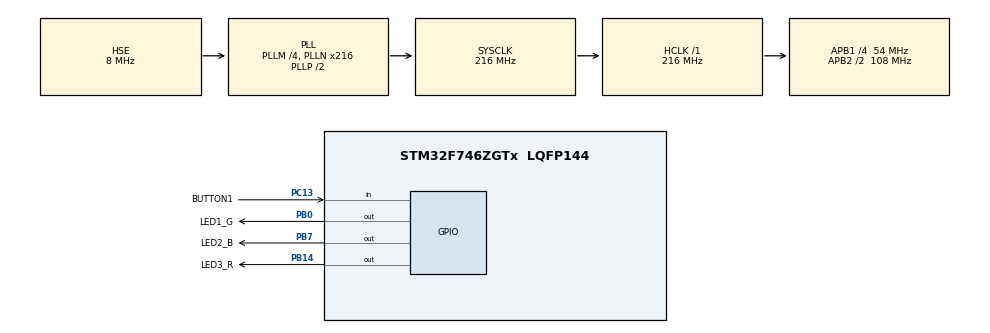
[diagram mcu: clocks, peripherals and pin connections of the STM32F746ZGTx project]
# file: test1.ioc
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Dma.MEMTOMEM.0.Direction=DMA_MEMORY_TO_MEMORY
Dma.MEMTOMEM.0.FIFOMode=DMA_FIFOMODE_ENABLE
Dma.MEMTOMEM.0.FIFOThreshold=DMA_FIFO_THRESHOLD_FULL
Dma.MEMTOMEM.0.Instance=DMA2_Stream0
Dma.MEMTOMEM.0.MemBurst=DMA_MBURST_SINGLE
Dma.MEMTOMEM.0.MemDataAlignment=DMA_MDATAALIGN_WORD
Dma.MEMTOMEM.0.MemInc=DMA_MINC_ENABLE
Dma.MEMTOMEM.0.Mode=DMA_NORMAL
Dma.MEMTOMEM.0.PeriphBurst=DMA_PBURST_SINGLE
Dma.MEMTOMEM.0.PeriphDataAlignment=DMA_PDATAALIGN_WORD
Dma.MEMTOMEM.0.PeriphInc=DMA_PINC_ENABLE
Dma.MEMTOMEM.0.Priority=DMA_PRIORITY_LOW
Dma.Request0=MEMTOMEM
Mcu.Family=STM32F7
Mcu.Name=STM32F746ZGTx
Mcu.Package=LQFP144
NVIC.DMA2_Stream0_IRQn=true\:0\:0\:false\:false\:true\:true
NVIC.PriorityGroup=NVIC_PRIORITYGROUP_4
PA13.Mode=Serial_Wire
PA13.Signal=SYS_JTMS-SWDIO
PA14.Mode=Serial_Wire
PA14.Signal=SYS_JTCK-SWCLK
PB0.GPIO_Label=LED1_G
PB0.Signal=GPIO_Output
PB14.GPIO_Label=LED3_R
PB14.Signal=GPIO_Output
PB7.GPIO_Label=LED2_B
PB7.Signal=GPIO_Output
PC13.GPIO_Label=BUTTON1
PC13.Signal=GPIO_Input
PH0/OSC_IN.Mode=HSE-External-Oscillator
PH0/OSC_IN.Signal=RCC_OSC_IN
PH1/OSC_OUT.Mode=HSE-External-Oscillator
PH1/OSC_OUT.Signal=RCC_OSC_OUT
ProjectManager.HeapSize=0x200
ProjectManager.StackSize=0x400
ProjectManager.TargetToolchain=MDK-ARM V5
RCC.AHBFreq_Value=216000000
RCC.APB1CLKDivider=RCC_HCLK_DIV4
RCC.APB1Freq_Value=54000000
RCC.APB1TimFreq_Value=108000000
RCC.APB2CLKDivider=RCC_HCLK_DIV2
RCC.APB2Freq_Value=108000000
RCC.APB2TimFreq_Value=216000000
RCC.CortexFreq_Value=216000000
RCC.HCLKFreq_Value=216000000
RCC.HSE_VALUE=8000000
RCC.HSI_VALUE=16000000
RCC.LSE_VALUE=32768
RCC.PLLM=4
RCC.PLLN=216
RCC.PLLSourceVirtual=RCC_PLLSOURCE_HSE
RCC.SYSCLKFreq_VALUE=216000000
RCC.SYSCLKSource=RCC_SYSCLKSOURCE_PLLCLK
RCC.USBFreq_Value=216000000
RCC.VCOOutputFreq_Value=432000000
board=test1

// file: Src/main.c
/**
  ******************************************************************************
  * @file           : main.c
  * @brief          : Main program body
  ******************************************************************************
  ** This notice applies to any and all portions of this file
  * that are not between comment pairs USER CODE BEGIN and
  * USER CODE END. Other portions of this file, whether
  * inserted by the user or by software development tools
  * are owned by their respective copyright owners.
  *
  * COPYRIGHT(c) 2018 STMicroelectronics
  *
  * Redistribution and use in source and binary forms, with or without modification,
  * are permitted provided that the following conditions are met:
  *   1. Redistributions of source code must retain the above copyright notice,
  *      this list of conditions and the following disclaimer.
  *   2. Redistributions in binary form must reproduce the above copyright notice,
  *      this list of conditions and the following disclaimer in the documentation
  *      and/or other materials provided with the distribution.
  *   3. Neither the name of STMicroelectronics nor the names of its contributors
  *      may be used to endorse or promote products derived from this software
  *      without specific prior written permission.
  *
  * THIS SOFTWARE IS PROVIDED BY THE COPYRIGHT HOLDERS AND CONTRIBUTORS "AS IS"
  * AND ANY EXPRESS OR IMPLIED WARRANTIES, INCLUDING, BUT NOT LIMITED TO, THE
  * IMPLIED WARRANTIES OF MERCHANTABILITY AND FITNESS FOR A PARTICULAR PURPOSE ARE
  * DISCLAIMED. IN NO EVENT SHALL THE COPYRIGHT HOLDER OR CONTRIBUTORS BE LIABLE
  * FOR ANY DIRECT, INDIRECT, INCIDENTAL, SPECIAL, EXEMPLARY, OR CONSEQUENTIAL
  * DAMAGES (INCLUDING, BUT NOT LIMITED TO, PROCUREMENT OF SUBSTITUTE GOODS OR
  * SERVICES; LOSS OF USE, DATA, OR PROFITS; OR BUSINESS INTERRUPTION) HOWEVER
  * CAUSED AND ON ANY THEORY OF LIABILITY, WHETHER IN CONTRACT, STRICT LIABILITY,
  * OR TORT (INCLUDING NEGLIGENCE OR OTHERWISE) ARISING IN ANY WAY OUT OF THE USE
  * OF THIS SOFTWARE, EVEN IF ADVISED OF THE POSSIBILITY OF SUCH DAMAGE.
  *
  ******************************************************************************
  */
#include "main.h"
#include "stm32f7xx_hal.h"
#include <cstring>

DMA_HandleTypeDef hdma_memtomem_dma2_stream0;

//#define POLLING_DMA

#define BUFFER_SIZE 32

/* Store array data in FLASH memory */
static const uint32_t srcBuffer[BUFFER_SIZE] =
{
	0x01020304, 0x05060708, 0x090A0B0C, 0x0D0E0F10,
	0x11121314, 0x15161718, 0x191A1B1C, 0x1D1E1F20,
	0x21222324, 0x25262728, 0x292A2B2C, 0x2D2E2F30,
	0x31323334, 0x35363738, 0x393A3B3C, 0x3D3E3F40,
	0x41424344, 0x45464748, 0x494A4B4C, 0x4D4E4F50,
	0x51525354, 0x55565758, 0x595A5B5C, 0x5D5E5F60,
	0x61626364, 0x65666768, 0x696A6B6C, 0x6D6E6F70,
	0x71727374, 0x75767778, 0x797A7B7C, 0x7D7E7F80
};
uint32_t dstBuffer[BUFFER_SIZE];

void SystemClock_Config(void);
static void MX_GPIO_Init(void);
static void MX_DMA_Init(void);

uint8_t BufferCmp(uint32_t* pBuff1, uint32_t* pBuff2, uint16_t len);
uint8_t BufferCmp2(uint32_t* pBuff1, uint32_t* pBuff2, uint16_t len);
static void XferCpltCallback(DMA_HandleTypeDef *DmaHandle);
static void XferErrorCallback(DMA_HandleTypeDef *DmaHandle);
static void XferHalfCpltCallback(DMA_HandleTypeDef *DmaHandle);
int main(void)
{
	/* MCU Configuration----------------------------------------------------------*/

	/* Reset of all peripherals, Initializes the Flash interface and the Systick. */
	HAL_Init();

	/* Configure the system clock */
	SystemClock_Config();

	/* Initialize all configured peripherals */
	MX_GPIO_Init();
	MX_DMA_Init();

	/* Turn red LED off */
	HAL_GPIO_WritePin(LED3_R_GPIO_Port, LED3_R_Pin, GPIO_PIN_RESET);
	/* Turn green LED off */
	HAL_GPIO_WritePin(LED1_G_GPIO_Port, LED1_G_Pin, GPIO_PIN_RESET);
	/* Turn blue LED off */
	HAL_GPIO_WritePin(LED2_B_GPIO_Port, LED2_B_Pin, GPIO_PIN_RESET);

	/* DMA transfer */
	/* Wait for user button press before starting the transfer */
	while (HAL_GPIO_ReadPin(BUTTON1_GPIO_Port, BUTTON1_Pin) == GPIO_PIN_RESET);

    /* Turn blue LED on to confirm button has pressed */
	HAL_GPIO_WritePin(LED2_B_GPIO_Port, LED2_B_Pin, GPIO_PIN_SET);
	// LED2_B_GPIO_Port->BSRR = LED2_B_Pin;	// Just playing with CMSIS

#ifndef POLLING_DMA
	/* Setup callbacks, not sure this can be done without HAL_DMA_Init */
//	hdma_memtomem_dma2_stream0.XferCpltCallback = XferCpltCallback;
//	hdma_memtomem_dma2_stream0.XferErrorCallback = XferErrorCallback;
//	hdma_memtomem_dma2_stream0.XferHalfCpltCallback = XferHalfCpltCallback;
	if (HAL_DMA_Start_IT(&hdma_memtomem_dma2_stream0, (uint32_t)&srcBuffer,
			(uint32_t)&dstBuffer, BUFFER_SIZE) != HAL_OK)
	{
		/* Transfer Error: Blink Red LED for ever */
		while(1)
		{
			HAL_GPIO_TogglePin (LED3_R_GPIO_Port, LED3_R_Pin);
			HAL_Delay (100);
		}
	}
#else
	if (HAL_DMA_Start(&hdma_memtomem_dma2_stream0, (uint32_t)&srcBuffer,
			(uint32_t)&dstBuffer, BUFFER_SIZE) != HAL_OK)
	{
		/* Transfer Error: Blink Red LED for ever */
		while(1)
		{
			HAL_GPIO_TogglePin (LED3_R_GPIO_Port, LED3_R_Pin);
			HAL_Delay (100);
		}
	}
#endif

	/* Start the DMA transfer using polling mode */

#ifdef POLLING_DMA
	/* Polling for transfer complete, if not using XferCpltCallback interrupt */
	HAL_DMA_PollForTransfer(&hdma_memtomem_dma2_stream0,
	                        HAL_DMA_FULL_TRANSFER, 1000);
	/* Compare the source and destination buffers */
	// dstBuffer[4] = 0x12345678;	// Create difference
	if(BufferCmp2((uint32_t*)srcBuffer, (uint32_t*)dstBuffer, BUFFER_SIZE))
	{
		/* Turn red LED on */
		HAL_GPIO_WritePin(LED3_R_GPIO_Port, LED3_R_Pin, GPIO_PIN_SET);
	}
	else
	{
		/* Turn green LED on */
		HAL_GPIO_WritePin(LED1_G_GPIO_Port, LED1_G_Pin, GPIO_PIN_SET);
	}
#endif

	/* Infinite loop */
	while (1)
	{
	}
}

void SystemClock_Config(void)
{

  RCC_OscInitTypeDef RCC_OscInitStruct;
  RCC_ClkInitTypeDef RCC_ClkInitStruct;

    /**Configure the main internal regulator output voltage
    */
  __HAL_RCC_PWR_CLK_ENABLE();

  __HAL_PWR_VOLTAGESCALING_CONFIG(PWR_REGULATOR_VOLTAGE_SCALE1);

    /**Initializes the CPU, AHB and APB busses clocks
    */
  RCC_OscInitStruct.OscillatorType = RCC_OSCILLATORTYPE_HSE;
  RCC_OscInitStruct.HSEState = RCC_HSE_ON;
  RCC_OscInitStruct.PLL.PLLState = RCC_PLL_ON;
  RCC_OscInitStruct.PLL.PLLSource = RCC_PLLSOURCE_HSE;
  RCC_OscInitStruct.PLL.PLLM = 4;
  RCC_OscInitStruct.PLL.PLLN = 216;
  RCC_OscInitStruct.PLL.PLLP = RCC_PLLP_DIV2;
  RCC_OscInitStruct.PLL.PLLQ = 2;
  if (HAL_RCC_OscConfig(&RCC_OscInitStruct) != HAL_OK)
  {
    _Error_Handler(__FILE__, __LINE__);
  }

    /**Activate the Over-Drive mode
    */
  if (HAL_PWREx_EnableOverDrive() != HAL_OK)
  {
    _Error_Handler(__FILE__, __LINE__);
  }

    /**Initializes the CPU, AHB and APB busses clocks
    */
  RCC_ClkInitStruct.ClockType = RCC_CLOCKTYPE_HCLK|RCC_CLOCKTYPE_SYSCLK
                              |RCC_CLOCKTYPE_PCLK1|RCC_CLOCKTYPE_PCLK2;
  RCC_ClkInitStruct.SYSCLKSource = RCC_SYSCLKSOURCE_PLLCLK;
  RCC_ClkInitStruct.AHBCLKDivider = RCC_SYSCLK_DIV1;
  RCC_ClkInitStruct.APB1CLKDivider = RCC_HCLK_DIV4;
  RCC_ClkInitStruct.APB2CLKDivider = RCC_HCLK_DIV2;

  if (HAL_RCC_ClockConfig(&RCC_ClkInitStruct, FLASH_LATENCY_7) != HAL_OK)
  {
    _Error_Handler(__FILE__, __LINE__);
  }

    /**Configure the Systick interrupt time
    */
  HAL_SYSTICK_Config(HAL_RCC_GetHCLKFreq()/1000);

    /**Configure the Systick
    */
  HAL_SYSTICK_CLKSourceConfig(SYSTICK_CLKSOURCE_HCLK);

  /* SysTick_IRQn interrupt configuration */
  HAL_NVIC_SetPriority(SysTick_IRQn, 0, 0);
}

static void MX_DMA_Init(void)
{
  /* DMA controller clock enable */
  __HAL_RCC_DMA2_CLK_ENABLE();

  /* Configure DMA request hdma_memtomem_dma2_stream0 on DMA2_Stream0 */
  hdma_memtomem_dma2_stream0.Instance = DMA2_Stream0;
  hdma_memtomem_dma2_stream0.Init.Channel = DMA_CHANNEL_0;
  hdma_memtomem_dma2_stream0.Init.Direction = DMA_MEMORY_TO_MEMORY;
  hdma_memtomem_dma2_stream0.Init.PeriphInc = DMA_PINC_ENABLE;
  hdma_memtomem_dma2_stream0.Init.MemInc = DMA_MINC_ENABLE;
  hdma_memtomem_dma2_stream0.Init.PeriphDataAlignment = DMA_PDATAALIGN_WORD;
  hdma_memtomem_dma2_stream0.Init.MemDataAlignment = DMA_MDATAALIGN_WORD;
  hdma_memtomem_dma2_stream0.Init.Mode = DMA_NORMAL;
  hdma_memtomem_dma2_stream0.Init.Priority = DMA_PRIORITY_HIGH;
  hdma_memtomem_dma2_stream0.Init.FIFOMode = DMA_FIFOMODE_DISABLE;
  hdma_memtomem_dma2_stream0.Init.FIFOThreshold = DMA_FIFO_THRESHOLD_FULL;
  hdma_memtomem_dma2_stream0.Init.MemBurst = DMA_MBURST_SINGLE;
  hdma_memtomem_dma2_stream0.Init.PeriphBurst = DMA_PBURST_SINGLE;
#ifndef POLLING_DMA
  /* Set the transfer complete interrupt callback function,
	 not sure it needs call to HAL_DMA_Init afterwards*/
  hdma_memtomem_dma2_stream0.XferCpltCallback = XferCpltCallback;
  hdma_memtomem_dma2_stream0.XferErrorCallback = XferErrorCallback;
  hdma_memtomem_dma2_stream0.XferHalfCpltCallback = XferHalfCpltCallback;
#endif

  if (HAL_DMA_Init(&hdma_memtomem_dma2_stream0) != HAL_OK)
  {
    _Error_Handler(__FILE__, __LINE__);
  }

  /* DMA interrupt init */
  /* DMA2_Stream0_IRQn interrupt configuration */
  HAL_NVIC_SetPriorityGrouping(NVIC_PRIORITYGROUP_1);
  HAL_NVIC_SetPriority(DMA2_Stream0_IRQn, 0, 0);
  HAL_NVIC_EnableIRQ(DMA2_Stream0_IRQn);
}

/** Configure pins as
        * Analog
        * Input
        * Output
        * EVENT_OUT
        * EXTI
        * Free pins are configured automatically as Analog (this feature is enabled through
        * the Code Generation settings)
*/
static void MX_GPIO_Init(void)
{
  GPIO_InitTypeDef GPIO_InitStruct;

  /* GPIO Ports Clock Enable */
  __HAL_RCC_GPIOE_CLK_ENABLE();
  __HAL_RCC_GPIOC_CLK_ENABLE();
  __HAL_RCC_GPIOF_CLK_ENABLE();
  __HAL_RCC_GPIOH_CLK_ENABLE();
  __HAL_RCC_GPIOA_CLK_ENABLE();
  __HAL_RCC_GPIOB_CLK_ENABLE();
  __HAL_RCC_GPIOG_CLK_ENABLE();
  __HAL_RCC_GPIOD_CLK_ENABLE();

  /*Configure GPIO pin Output Level */
  HAL_GPIO_WritePin(GPIOB, LED1_G_Pin|LED3_R_Pin|LED2_B_Pin, GPIO_PIN_RESET);

  /*Configure GPIO pins : PE2 PE3 PE4 PE5
                           PE6 PE7 PE8 PE9
                           PE10 PE11 PE12 PE13
                           PE14 PE15 PE0 PE1 */
  GPIO_InitStruct.Pin = GPIO_PIN_2|GPIO_PIN_3|GPIO_PIN_4|GPIO_PIN_5
                          |GPIO_PIN_6|GPIO_PIN_7|GPIO_PIN_8|GPIO_PIN_9
                          |GPIO_PIN_10|GPIO_PIN_11|GPIO_PIN_12|GPIO_PIN_13
                          |GPIO_PIN_14|GPIO_PIN_15|GPIO_PIN_0|GPIO_PIN_1;
  GPIO_InitStruct.Mode = GPIO_MODE_ANALOG;
  GPIO_InitStruct.Pull = GPIO_NOPULL;
  HAL_GPIO_Init(GPIOE, &GPIO_InitStruct);

  /*Configure GPIO pin : BUTTON1_Pin */
  GPIO_InitStruct.Pin = BUTTON1_Pin;
  GPIO_InitStruct.Mode = GPIO_MODE_INPUT;
  GPIO_InitStruct.Pull = GPIO_NOPULL;
  HAL_GPIO_Init(BUTTON1_GPIO_Port, &GPIO_InitStruct);

  /*Configure GPIO pins : PC14 PC15 PC0 PC1
                           PC2 PC3 PC4 PC5
                           PC6 PC7 PC8 PC9
                           PC10 PC11 PC12 */
  GPIO_InitStruct.Pin = GPIO_PIN_14|GPIO_PIN_15|GPIO_PIN_0|GPIO_PIN_1
                          |GPIO_PIN_2|GPIO_PIN_3|GPIO_PIN_4|GPIO_PIN_5
                          |GPIO_PIN_6|GPIO_PIN_7|GPIO_PIN_8|GPIO_PIN_9
                          |GPIO_PIN_10|GPIO_PIN_11|GPIO_PIN_12;
  GPIO_InitStruct.Mode = GPIO_MODE_ANALOG;
  GPIO_InitStruct.Pull = GPIO_NOPULL;
  HAL_GPIO_Init(GPIOC, &GPIO_InitStruct);

  /*Configure GPIO pins : PF0 PF1 PF2 PF3
                           PF4 PF5 PF6 PF7
                           PF8 PF9 PF10 PF11
                           PF12 PF13 PF14 PF15 */
  GPIO_InitStruct.Pin = GPIO_PIN_0|GPIO_PIN_1|GPIO_PIN_2|GPIO_PIN_3
                          |GPIO_PIN_4|GPIO_PIN_5|GPIO_PIN_6|GPIO_PIN_7
                          |GPIO_PIN_8|GPIO_PIN_9|GPIO_PIN_10|GPIO_PIN_11
                          |GPIO_PIN_12|GPIO_PIN_13|GPIO_PIN_14|GPIO_PIN_15;
  GPIO_InitStruct.Mode = GPIO_MODE_ANALOG;
  GPIO_InitStruct.Pull = GPIO_NOPULL;
  HAL_GPIO_Init(GPIOF, &GPIO_InitStruct);

  /*Configure GPIO pins : PA0 PA1 PA2 PA3
                           PA4 PA5 PA6 PA7
                           PA8 PA9 PA10 PA11
                           PA12 PA15 */
  GPIO_InitStruct.Pin = GPIO_PIN_0|GPIO_PIN_1|GPIO_PIN_2|GPIO_PIN_3
                          |GPIO_PIN_4|GPIO_PIN_5|GPIO_PIN_6|GPIO_PIN_7
                          |GPIO_PIN_8|GPIO_PIN_9|GPIO_PIN_10|GPIO_PIN_11
                          |GPIO_PIN_12|GPIO_PIN_15;
  GPIO_InitStruct.Mode = GPIO_MODE_ANALOG;
  GPIO_InitStruct.Pull = GPIO_NOPULL;
  HAL_GPIO_Init(GPIOA, &GPIO_InitStruct);

  /*Configure GPIO pins : LED1_G_Pin LED3_R_Pin LED2_B_Pin */
  GPIO_InitStruct.Pin = LED1_G_Pin|LED3_R_Pin|LED2_B_Pin;
  GPIO_InitStruct.Mode = GPIO_MODE_OUTPUT_PP;
  GPIO_InitStruct.Pull = GPIO_NOPULL;
  GPIO_InitStruct.Speed = GPIO_SPEED_FREQ_LOW;
  HAL_GPIO_Init(GPIOB, &GPIO_InitStruct);

  /*Configure GPIO pins : PB1 PB2 PB10 PB11
                           PB12 PB13 PB15 PB3
                           PB4 PB5 PB6 PB8
                           PB9 */
  GPIO_InitStruct.Pin = GPIO_PIN_1|GPIO_PIN_2|GPIO_PIN_10|GPIO_PIN_11
                          |GPIO_PIN_12|GPIO_PIN_13|GPIO_PIN_15|GPIO_PIN_3
                          |GPIO_PIN_4|GPIO_PIN_5|GPIO_PIN_6|GPIO_PIN_8
                          |GPIO_PIN_9;
  GPIO_InitStruct.Mode = GPIO_MODE_ANALOG;
  GPIO_InitStruct.Pull = GPIO_NOPULL;
  HAL_GPIO_Init(GPIOB, &GPIO_InitStruct);

  /*Configure GPIO pins : PG0 PG1 PG2 PG3
                           PG4 PG5 PG6 PG7
                           PG8 PG9 PG10 PG11
                           PG12 PG13 PG14 PG15 */
  GPIO_InitStruct.Pin = GPIO_PIN_0|GPIO_PIN_1|GPIO_PIN_2|GPIO_PIN_3
                          |GPIO_PIN_4|GPIO_PIN_5|GPIO_PIN_6|GPIO_PIN_7
                          |GPIO_PIN_8|GPIO_PIN_9|GPIO_PIN_10|GPIO_PIN_11
                          |GPIO_PIN_12|GPIO_PIN_13|GPIO_PIN_14|GPIO_PIN_15;
  GPIO_InitStruct.Mode = GPIO_MODE_ANALOG;
  GPIO_InitStruct.Pull = GPIO_NOPULL;
  HAL_GPIO_Init(GPIOG, &GPIO_InitStruct);

  /*Configure GPIO pins : PD8 PD9 PD10 PD11
                           PD12 PD13 PD14 PD15
                           PD0 PD1 PD2 PD3
                           PD4 PD5 PD6 PD7 */
  GPIO_InitStruct.Pin = GPIO_PIN_8|GPIO_PIN_9|GPIO_PIN_10|GPIO_PIN_11
                          |GPIO_PIN_12|GPIO_PIN_13|GPIO_PIN_14|GPIO_PIN_15
                          |GPIO_PIN_0|GPIO_PIN_1|GPIO_PIN_2|GPIO_PIN_3
                          |GPIO_PIN_4|GPIO_PIN_5|GPIO_PIN_6|GPIO_PIN_7;
  GPIO_InitStruct.Mode = GPIO_MODE_ANALOG;
  GPIO_InitStruct.Pull = GPIO_NOPULL;
  HAL_GPIO_Init(GPIOD, &GPIO_InitStruct);

}

/* USER CODE BEGIN 4 */
/**
  * @brief  Compare two buffers.
  * @param  pBuff1: buffer to be compared
  *         pBuff2: buffer to be compared
  *         len   : buffer length
  * @retval 0: pBuff1 identical to pBuff2
  *         1: pBuff1 differs from pBuff2
  */
uint8_t BufferCmp(uint32_t* pBuff1, uint32_t* pBuff2, uint16_t len)
{
	while (len--)
	{
		if(*pBuff1 != *pBuff2)
		{
			return 1;
		}
		pBuff1++;
		pBuff2++;
	}
	return 0;
}

uint8_t BufferCmp2(uint32_t* pBuff1, uint32_t* pBuff2, uint16_t len)
{
	/* Memory compare */
	/* http://www.cplusplus.com/reference/cstring/memcmp/ */
	/* memcmp <cstring> */
	return memcmp(pBuff1, pBuff2, len);
}

/**
  * @brief  DMA conversion complete callback
  * @note   This function is executed when the transfer complete interrupt
  *         is generated
  * @retval None
  */
static void XferCpltCallback(DMA_HandleTypeDef *DmaHandle)
{
	if (DmaHandle->Instance == DMA2_Stream0 )
	{
		;
	}
	/* Compare the source and destination buffers */
	if(BufferCmp2((uint32_t*)srcBuffer, (uint32_t*)dstBuffer, BUFFER_SIZE))
	{
		/* Turn red LED on */
		HAL_GPIO_WritePin(LED3_R_GPIO_Port, LED3_R_Pin, GPIO_PIN_SET);
	}
	else
	{
		/* Turn green LED on */
		HAL_GPIO_WritePin(LED1_G_GPIO_Port, LED1_G_Pin, GPIO_PIN_SET);
	}
}

static void XferErrorCallback(DMA_HandleTypeDef *DmaHandle)
{
	if (DmaHandle->Instance == DMA2_Stream0 )
	{
		;
	}
	/* Transfer Error: Blink LED3 */
	while(1){
		HAL_GPIO_TogglePin (LED3_R_GPIO_Port, LED3_R_Pin);
		HAL_Delay (100);
	}
}

static void XferHalfCpltCallback(DMA_HandleTypeDef *DmaHandle)
{
	if (DmaHandle->Instance == DMA2_Stream0 )
	{
		;
	}
	/* Compare the source and destination buffers */
	if(BufferCmp((uint32_t*)srcBuffer, (uint32_t*)dstBuffer, BUFFER_SIZE))
	{
		/* Turn red LED on */
		HAL_GPIO_WritePin(LED3_R_GPIO_Port, LED3_R_Pin, GPIO_PIN_SET);
	}
	else
	{
	/* Turn green LED on */
		HAL_GPIO_WritePin(LED1_G_GPIO_Port, LED1_G_Pin, GPIO_PIN_SET);
	}
}

/* USER CODE END 4 */

void _Error_Handler(char *file, int line)
{
  while(1)
  {
  }
}

/************************ (C) COPYRIGHT STMicroelectronics *****END OF FILE****/
